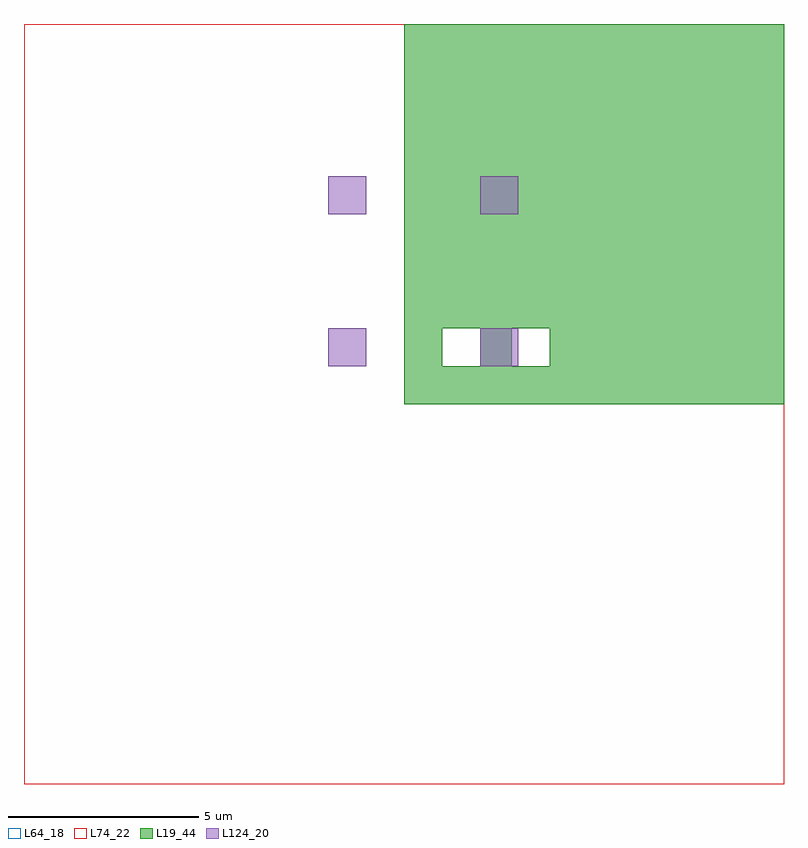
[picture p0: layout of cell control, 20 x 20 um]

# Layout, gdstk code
from math import pi, radians
import gdstk
lib = gdstk.Library(unit=1e-6, precision=1e-09)
def R(c, l, rs):  # rectangles x0, y0, x1, y1
    for r in rs: c.add(gdstk.rectangle(r[:2], r[2:], *l))
def P(c, l, *ps):  # polygons
    for p in ps: c.add(gdstk.Polygon(p, *l))
L19_44 = (19, 44)
L64_18 = (64, 18)
L74_22 = (74, 22)
L124_20 = (124, 20)

child = lib.new_cell('child')
R(child, L124_20, [(1,1,2,2)])

control = lib.new_cell('control')
P(control, L19_44, [(0,0),(0,2),(1,2),(1,1),(2,1),(2,2),(2.84,2),(2.84,1),(3.84,1),(3.84,2),(0,2),(0,10),(10,10),(10,0)])
R(control, L64_18, [(-10,-10,10,10)])
R(control, L74_22, [(-10,-10,10,10)])
r = gdstk.Reference(child, (4,0), rotation=pi, x_reflection=True); r.repetition = gdstk.Repetition(2, 2, v1=(-4,0), v2=(0,4)); control.add(r)

lib.write_gds('control.gds')
